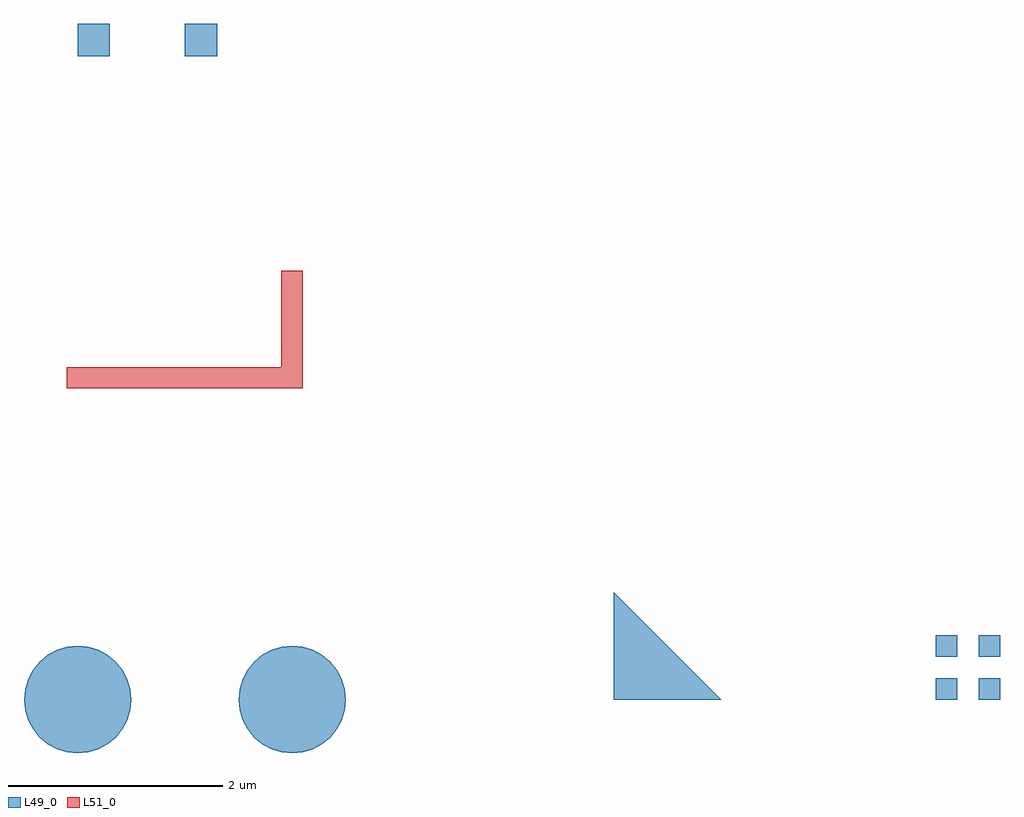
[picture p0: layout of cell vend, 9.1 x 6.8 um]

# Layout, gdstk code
import gdstk
lib = gdstk.Library(unit=1e-6, precision=1e-09)
def R(c, l, rs):  # rectangles x0, y0, x1, y1
    for r in rs: c.add(gdstk.rectangle(r[:2], r[2:], *l))
def P(c, l, *ps):  # polygons
    for p in ps: c.add(gdstk.Polygon(p, *l))
L49_0 = (49, 0)
L51_0 = (51, 0)

vsub = lib.new_cell('vsub')
R(vsub, L49_0, [(0,0,0.3,0.3)])

vend = lib.new_cell('vend')
R(vend, L49_0, [(8,0,8.2,0.2), (8.4,0,8.6,0.2), (8,0.4,8.2,0.6), (8.4,0.4,8.6,0.6)])
P(vend, L49_0, [(0.5,0),(0.49,0.098),(0.462,0.191),(0.416,0.278),(0.354,0.354),(0.278,0.416),(0.191,0.462),(0.098,0.49),(0,0.5),(-0.098,0.49),(-0.191,0.462),(-0.278,0.416),(-0.354,0.354),(-0.416,0.278),(-0.462,0.191),(-0.49,0.098),(-0.5,0),(-0.49,-0.098),(-0.462,-0.191),(-0.416,-0.278),(-0.354,-0.354),(-0.278,-0.416),(-0.191,-0.462),(-0.098,-0.49),(0,-0.5),(0.098,-0.49),(0.191,-0.462),(0.278,-0.416),(0.354,-0.354),(0.416,-0.278),(0.462,-0.191),(0.49,-0.098)],
  [(2.5,0),(2.49,0.098),(2.462,0.191),(2.416,0.278),(2.354,0.354),(2.278,0.416),(2.191,0.462),(2.098,0.49),(2,0.5),(1.902,0.49),(1.809,0.462),(1.722,0.416),(1.646,0.354),(1.584,0.278),(1.538,0.191),(1.51,0.098),(1.5,0),(1.51,-0.098),(1.538,-0.191),(1.584,-0.278),(1.646,-0.354),(1.722,-0.416),(1.809,-0.462),(1.902,-0.49),(2,-0.5),(2.098,-0.49),(2.191,-0.462),(2.278,-0.416),(2.354,-0.354),(2.416,-0.278),(2.462,-0.191),(2.49,-0.098)],
  [(5,0),(5,1),(6,0)])
vend.add(gdstk.FlexPath([(0,3),(2,3),(2,4)], 0.2, ends=(0.1, 0), simple_path=True, layer=51, datatype=0))  # L51_0
r = gdstk.Reference(vsub, (0,6)); r.repetition = gdstk.Repetition(2, 1, v1=(1,0), v2=(0,0)); vend.add(r)

lib.write_gds('vend.gds')
